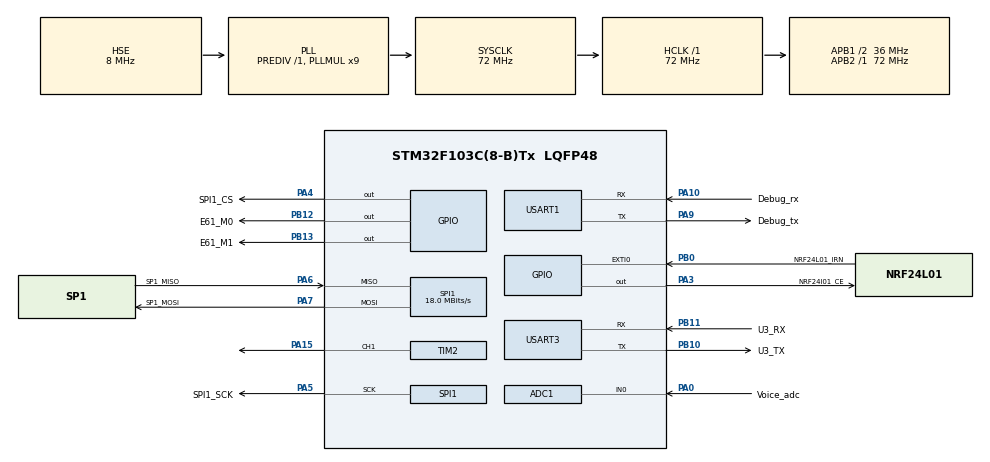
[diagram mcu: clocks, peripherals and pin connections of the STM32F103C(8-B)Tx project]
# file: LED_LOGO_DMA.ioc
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ADC1.Channel-9\#ChannelRegularConversion=ADC_CHANNEL_0
ADC1.ContinuousConvMode=DISABLE
ADC1.DataAlign=ADC_DATAALIGN_RIGHT
ADC1.DiscontinuousConvMode=DISABLE
ADC1.EnableAnalogWatchDog=false
ADC1.EnableRegularConversion=ENABLE
ADC1.ExternalTrigConv=ADC_EXTERNALTRIGCONV_T3_TRGO
ADC1.InjNumberOfConversion=0
ADC1.NbrOfConversion=1
ADC1.NbrOfConversionFlag=1
ADC1.Rank-9\#ChannelRegularConversion=1
ADC1.SamplingTime-9\#ChannelRegularConversion=ADC_SAMPLETIME_1CYCLE_5
ADC1.ScanConvMode=ADC_SCAN_DISABLE
ADC1.master=1
Dma.ADC1.1.Direction=DMA_PERIPH_TO_MEMORY
Dma.ADC1.1.Instance=DMA1_Channel1
Dma.ADC1.1.MemDataAlignment=DMA_MDATAALIGN_HALFWORD
Dma.ADC1.1.MemInc=DMA_MINC_ENABLE
Dma.ADC1.1.Mode=DMA_CIRCULAR
Dma.ADC1.1.PeriphDataAlignment=DMA_PDATAALIGN_HALFWORD
Dma.ADC1.1.PeriphInc=DMA_PINC_DISABLE
Dma.ADC1.1.Priority=DMA_PRIORITY_LOW
Dma.Request0=TIM2_CH1
Dma.Request1=ADC1
Dma.Request2=USART3_RX
Dma.Request3=USART3_TX
Dma.TIM2_CH1.0.Direction=DMA_MEMORY_TO_PERIPH
Dma.TIM2_CH1.0.Instance=DMA1_Channel5
Dma.TIM2_CH1.0.MemDataAlignment=DMA_MDATAALIGN_HALFWORD
Dma.TIM2_CH1.0.MemInc=DMA_MINC_ENABLE
Dma.TIM2_CH1.0.Mode=DMA_NORMAL
Dma.TIM2_CH1.0.PeriphDataAlignment=DMA_PDATAALIGN_HALFWORD
Dma.TIM2_CH1.0.PeriphInc=DMA_PINC_DISABLE
Dma.TIM2_CH1.0.Priority=DMA_PRIORITY_MEDIUM
Dma.USART3_RX.2.Direction=DMA_PERIPH_TO_MEMORY
Dma.USART3_RX.2.Instance=DMA1_Channel3
Dma.USART3_RX.2.MemDataAlignment=DMA_MDATAALIGN_BYTE
Dma.USART3_RX.2.MemInc=DMA_MINC_ENABLE
Dma.USART3_RX.2.Mode=DMA_NORMAL
Dma.USART3_RX.2.PeriphDataAlignment=DMA_PDATAALIGN_BYTE
Dma.USART3_RX.2.PeriphInc=DMA_PINC_DISABLE
Dma.USART3_RX.2.Priority=DMA_PRIORITY_LOW
Dma.USART3_TX.3.Direction=DMA_MEMORY_TO_PERIPH
Dma.USART3_TX.3.Instance=DMA1_Channel2
Dma.USART3_TX.3.MemDataAlignment=DMA_MDATAALIGN_BYTE
Dma.USART3_TX.3.MemInc=DMA_MINC_ENABLE
Dma.USART3_TX.3.Mode=DMA_NORMAL
Dma.USART3_TX.3.PeriphDataAlignment=DMA_PDATAALIGN_BYTE
Dma.USART3_TX.3.PeriphInc=DMA_PINC_DISABLE
Dma.USART3_TX.3.Priority=DMA_PRIORITY_LOW
FREERTOS.Tasks01=defaultTask,0,128,APP_TASK,Default,NULL,Dynamic,NULL,NULL;WS12TASK,-3,128,WS128_TASK,Default,NULL,Dynamic,NULL,NULL;myTask03,-3,128,FFT_TASK,Default,NULL,Dynamic,NULL,NULL
FREERTOS.configTOTAL_HEAP_SIZE=17000
Mcu.Family=STM32F1
Mcu.Name=STM32F103C(8-B)Tx
Mcu.Package=LQFP48
NVIC.ADC1_2_IRQn=true\:5\:0\:false\:true\:true\:3\:true\:true
NVIC.DMA1_Channel1_IRQn=true\:5\:0\:false\:true\:true\:1\:true\:false
NVIC.DMA1_Channel2_IRQn=true\:5\:0\:false\:false\:true\:true\:false
NVIC.DMA1_Channel3_IRQn=true\:5\:0\:false\:false\:true\:true\:false
NVIC.DMA1_Channel5_IRQn=true\:5\:0\:false\:true\:true\:2\:true\:false
NVIC.PriorityGroup=NVIC_PRIORITYGROUP_4
NVIC.TIM2_IRQn=true\:5\:0\:false\:true\:true\:4\:true\:true
NVIC.TIM3_IRQn=true\:5\:0\:false\:true\:true\:5\:true\:true
NVIC.USART3_IRQn=true\:5\:0\:false\:true\:true\:6\:true\:true
PA0-WKUP.GPIO_Label=Voice_adc
PA0-WKUP.Signal=ADCx_IN0
PA10.GPIO_Label=Debug_rx
PA10.Mode=Asynchronous
PA10.Signal=USART1_RX
PA13.Mode=Serial_Wire
PA13.Signal=SYS_JTMS-SWDIO
PA14.Mode=Serial_Wire
PA14.Signal=SYS_JTCK-SWCLK
PA15.Signal=S_TIM2_CH1_ETR
PA3.GPIO_Label=NRF24l01_CE
PA3.Signal=GPIO_Output
PA4.GPIO_Label=SPI1_CS
PA4.Signal=GPIO_Output
PA5.GPIO_Label=SPI1_SCK
PA5.Mode=Full_Duplex_Master
PA5.Signal=SPI1_SCK
PA6.GPIO_Label=SP1_MISO
PA6.Mode=Full_Duplex_Master
PA6.Signal=SPI1_MISO
PA7.GPIO_Label=SP1_MOSI
PA7.Mode=Full_Duplex_Master
PA7.Signal=SPI1_MOSI
PA9.GPIO_Label=Debug_tx
PA9.Mode=Asynchronous
PA9.Signal=USART1_TX
PB0.GPIO_Label=NRF24L01_IRN
PB0.Signal=GPXTI0
PB10.GPIO_Label=U3_TX
PB10.Mode=Asynchronous
PB10.Signal=USART3_TX
PB11.GPIO_Label=U3_RX
PB11.Mode=Asynchronous
PB11.Signal=USART3_RX
PB12.GPIO_Label=E61_M0
PB12.Signal=GPIO_Output
PB13.GPIO_Label=E61_M1
PB13.Signal=GPIO_Output
PD0-OSC_IN.Mode=HSE-External-Oscillator
PD0-OSC_IN.Signal=RCC_OSC_IN
PD1-OSC_OUT.Mode=HSE-External-Oscillator
PD1-OSC_OUT.Signal=RCC_OSC_OUT
ProjectManager.HeapSize=0x200
ProjectManager.StackSize=0x400
ProjectManager.TargetToolchain=MDK-ARM V5
RCC.ADCPresc=RCC_ADCPCLK2_DIV6
RCC.AHBFreq_Value=72000000
RCC.APB1CLKDivider=RCC_HCLK_DIV2
RCC.APB1Freq_Value=36000000
RCC.APB1TimFreq_Value=72000000
RCC.APB2Freq_Value=72000000
RCC.APB2TimFreq_Value=72000000
RCC.EnbaleCSS=true
RCC.HCLKFreq_Value=72000000
RCC.PLLMUL=RCC_PLL_MUL9
RCC.PLLSourceVirtual=RCC_PLLSOURCE_HSE
RCC.SYSCLKFreq_VALUE=72000000
RCC.SYSCLKSource=RCC_SYSCLKSOURCE_PLLCLK
RCC.USBFreq_Value=72000000
SH.ADCx_IN0.0=ADC1_IN0,IN0
SH.S_TIM2_CH1_ETR.0=TIM2_CH1,PWM Generation1 CH1
SPI1.BaudRatePrescaler=SPI_BAUDRATEPRESCALER_4
SPI1.CalculateBaudRate=18.0 MBits/s
SPI1.Direction=SPI_DIRECTION_2LINES
SPI1.Mode=SPI_MODE_MASTER
SPI1.VirtualType=VM_MASTER
TIM2.Channel-PWM\ Generation1\ CH1=TIM_CHANNEL_1
TIM2.Period=89
TIM3.Period=100
TIM3.Prescaler=72
TIM3.TIM_MasterOutputTrigger=TIM_TRGO_UPDATE
USART1.VirtualMode=VM_ASYNC
USART3.VirtualMode=VM_ASYNC
VP_FREERTOS_VS_ENABLE.Mode=Enabled
VP_TIM2_VS_ClockSourceINT.Mode=Internal
VP_TIM3_VS_ClockSourceINT.Mode=Internal
board=LED_LOGO_DMA

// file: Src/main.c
/**
  ******************************************************************************
  * File Name          : main.c
  * Description        : Main program body
  ******************************************************************************
  * This notice applies to any and all portions of this file
  * that are not between comment pairs USER CODE BEGIN and
  * USER CODE END. Other portions of this file, whether
  * inserted by the user or by software development tools
  * are owned by their respective copyright owners.
  *
  * Copyright (c) 2019 STMicroelectronics International N.V.
  * All rights reserved.
  *
  * Redistribution and use in source and binary forms, with or without
  * modification, are permitted, provided that the following conditions are met:
  *
  * 1. Redistribution of source code must retain the above copyright notice,
  *    this list of conditions and the following disclaimer.
  * 2. Redistributions in binary form must reproduce the above copyright notice,
  *    this list of conditions and the following disclaimer in the documentation
  *    and/or other materials provided with the distribution.
  * 3. Neither the name of STMicroelectronics nor the names of other
  *    contributors to this software may be used to endorse or promote products
  *    derived from this software without specific written permission.
  * 4. This software, including modifications and/or derivative works of this
  *    software, must execute solely and exclusively on microcontroller or
  *    microprocessor devices manufactured by or for STMicroelectronics.
  * 5. Redistribution and use of this software other than as permitted under
  *    this license is void and will automatically terminate your rights under
  *    this license.
  *
  * THIS SOFTWARE IS PROVIDED BY STMICROELECTRONICS AND CONTRIBUTORS "AS IS"
  * AND ANY EXPRESS, IMPLIED OR STATUTORY WARRANTIES, INCLUDING, BUT NOT
  * LIMITED TO, THE IMPLIED WARRANTIES OF MERCHANTABILITY, FITNESS FOR A
  * PARTICULAR PURPOSE AND NON-INFRINGEMENT OF THIRD PARTY INTELLECTUAL PROPERTY
  * RIGHTS ARE DISCLAIMED TO THE FULLEST EXTENT PERMITTED BY LAW. IN NO EVENT
  * SHALL STMICROELECTRONICS OR CONTRIBUTORS BE LIABLE FOR ANY DIRECT, INDIRECT,
  * INCIDENTAL, SPECIAL, EXEMPLARY, OR CONSEQUENTIAL DAMAGES (INCLUDING, BUT NOT
  * LIMITED TO, PROCUREMENT OF SUBSTITUTE GOODS OR SERVICES; LOSS OF USE, DATA,
  * OR PROFITS; OR BUSINESS INTERRUPTION) HOWEVER CAUSED AND ON ANY THEORY OF
  * LIABILITY, WHETHER IN CONTRACT, STRICT LIABILITY, OR TORT (INCLUDING
  * NEGLIGENCE OR OTHERWISE) ARISING IN ANY WAY OUT OF THE USE OF THIS SOFTWARE,
  * EVEN IF ADVISED OF THE POSSIBILITY OF SUCH DAMAGE.
  *
  ******************************************************************************
  */

#include "main.h"
#include "stm32f1xx_hal.h"
#include "cmsis_os.h"

/* USER CODE BEGIN Includes */
#include "arm_math.h"
#include "arm_const_structs.h"
#include "bsp_tim.h"
#include "bsp_led.h"
#include "bsp_ws2812.h"
#include "stm_flash.h"
#include "string.h"
#include <stdlib.h>
#include "ws2812_app.h"
#include "bsp_nrf24l01.h"
#include "bsp_update.h"
/* USER CODE END Includes */

ADC_HandleTypeDef hadc1;
DMA_HandleTypeDef hdma_adc1;

SPI_HandleTypeDef hspi1;

TIM_HandleTypeDef htim2;
TIM_HandleTypeDef htim3;
DMA_HandleTypeDef hdma_tim2_ch1;

UART_HandleTypeDef huart1;
UART_HandleTypeDef huart3;
DMA_HandleTypeDef hdma_usart3_rx;
DMA_HandleTypeDef hdma_usart3_tx;

osThreadId defaultTaskHandle;
osThreadId WS12TASKHandle;
osThreadId myTask03Handle;

/* USER CODE BEGIN PV */
/* Private variables ---------------------------------------------------------*/
/*Define print function*/

/* USER CODE END PV */

/* USER CODE BEGIN PFP */
/* Private function prototypes -----------------------------------------------*/
extern system_mode_type system_mode;
void MX_TIM3_Init(void);
void SystemClock_Config(void);
void MX_GPIO_Init(void);
void MX_DMA_Init(void);
void MX_USART1_UART_Init(void);
void MX_ADC1_Init(void);
void MX_TIM2_Init(void);
void MX_NVIC_Init(void);
void MX_SPI1_Init(void);
void HAL_TIM_MspPostInit(TIM_HandleTypeDef* htim);
void MX_USART3_UART_Init(void);
void APP_TASK(void const * argument);
void WS128_TASK(void const * argument);
void FFT_TASK(void const * argument);
/* USER CODE END PFP */

/* USER CODE BEGIN 0 */

extern uint8_t light_flag;
/* USER CODE END 0 */

int main(void)
{

  /* USER CODE BEGIN 1 */
//	 SCB->VTOR = 0x8000000 | (0x1800 & (uint32_t)0x1FFFFF80);

  /* USER CODE END 1 */

  /* MCU Configuration----------------------------------------------------------*/

  /* Reset of all peripherals, Initializes the Flash interface and the Systick. */
  HAL_Init();

  /* Configure the system clock */
  SystemClock_Config();

  /* Initialize all configured peripherals */
  MX_GPIO_Init();
  MX_DMA_Init();
  MX_TIM3_Init();
  MX_USART1_UART_Init();
  MX_ADC1_Init();
  MX_TIM2_Init();
  MX_SPI1_Init();
  MX_USART3_UART_Init();

  /* Initialize interrupts */
  MX_NVIC_Init();

  /* USER CODE BEGIN 2 */

//

//  HAL_TIM_Base_Start(&htim3);
//HAL_ADC_Start_DMA(&hadc1, (uint32_t*)uhADCxConvertedValue1, (TEST_LENGTH_SAMPLES/2));
//  STMFLASH_Write(0x8008800 , (uint16_t *)aBuffer, 2 );
//  STMFLASH_Read (0x8008800 , (uint16_t *)bBuffer, 1 );
//
//    printf("这是一个NRF24L01 2.4G无线数据传输模块测试实验\r\n");

//  while(NRF24L01_Check(&hspi1))
//	{
//    printf("客户端1：硬件查寻不到NRF24L01无线模块\r\n");
//		HAL_Delay(1000);
//	}
//  printf("客户端1：NRF24L01无线模块硬件连接正常\r\n");

//这样产生的是10以内的随机数， 100以内就%100就可以。
  /* USER CODE END 2 */

  /* Create the thread(s) */
  /* definition and creation of defaultTask */
  osThreadDef(defaultTask, APP_TASK, osPriorityHigh, 0, 256);
  defaultTaskHandle = osThreadCreate(osThread(defaultTask), NULL);

  /* definition and creation of WS12TASK */
  osThreadDef(WS12TASK, WS128_TASK, osPriorityBelowNormal, 0, 256);
  WS12TASKHandle = osThreadCreate(osThread(WS12TASK), NULL);

  /* definition and creation of myTask03 */
  osThreadDef(myTask03, FFT_TASK, osPriorityBelowNormal, 0, 256);
  myTask03Handle = osThreadCreate(osThread(myTask03), NULL);

  /* Start scheduler */
  osKernelStart();

  /* We should never get here as control is now taken by the scheduler */

  /* Infinite loop */
  /* USER CODE BEGIN WHILE */
    while(1)
    {
/******spi  mode***************************/

			/**
			           NRF24L01_TX_Mode(&hspi1);
			if(NRF24L01_TxPacket(&hspi1,"深圳市琴弦科技有限公司jhgfjghjnghjnhtjmnthjuhmkjhkm465656565656565656565656565656565reeeeeeeeeeeeeeee")==TX_OK)
      {

      }**/

  /* USER CODE END WHILE */

  /* USER CODE BEGIN 3 */

// usart3_data_process();

//			DMA_WS2812_Running_more(180, 10);
//			DMA_WS2812_Run(180);
//			DMA_WS2812_Rampping(180, 255, 2);
//			DMA_WS2812_Rampping_1(180, 255, 1);
//			DMA_WS2812_Running(189);
//			arrange_display(180);
//			arrange_display_two(180);
//			arrange_display_two_run(180);
//			ws2812_rand_light(180);
//  HAL_UART_Transmit_DMA(&huart3,"HAHAHA", 11);
//	HAL_Delay(500);
    }
  /* USER CODE END 3 */

}

/** System Clock Configuration
*/
void SystemClock_Config(void)
{

  RCC_OscInitTypeDef RCC_OscInitStruct;
  RCC_ClkInitTypeDef RCC_ClkInitStruct;
  RCC_PeriphCLKInitTypeDef PeriphClkInit;

    /**Initializes the CPU, AHB and APB busses clocks
    */
  RCC_OscInitStruct.OscillatorType = RCC_OSCILLATORTYPE_HSE;
  RCC_OscInitStruct.HSEState = RCC_HSE_ON;
  RCC_OscInitStruct.HSEPredivValue = RCC_HSE_PREDIV_DIV1;
  RCC_OscInitStruct.HSIState = RCC_HSI_ON;
  RCC_OscInitStruct.PLL.PLLState = RCC_PLL_ON;
  RCC_OscInitStruct.PLL.PLLSource = RCC_PLLSOURCE_HSE;
  RCC_OscInitStruct.PLL.PLLMUL = RCC_PLL_MUL9;
  if (HAL_RCC_OscConfig(&RCC_OscInitStruct) != HAL_OK)
  {
    _Error_Handler(__FILE__, __LINE__);
  }

    /**Initializes the CPU, AHB and APB busses clocks
    */
  RCC_ClkInitStruct.ClockType = RCC_CLOCKTYPE_HCLK|RCC_CLOCKTYPE_SYSCLK
                              |RCC_CLOCKTYPE_PCLK1|RCC_CLOCKTYPE_PCLK2;
  RCC_ClkInitStruct.SYSCLKSource = RCC_SYSCLKSOURCE_PLLCLK;
  RCC_ClkInitStruct.AHBCLKDivider = RCC_SYSCLK_DIV1;
  RCC_ClkInitStruct.APB1CLKDivider = RCC_HCLK_DIV2;
  RCC_ClkInitStruct.APB2CLKDivider = RCC_HCLK_DIV1;

  if (HAL_RCC_ClockConfig(&RCC_ClkInitStruct, FLASH_LATENCY_2) != HAL_OK)
  {
    _Error_Handler(__FILE__, __LINE__);
  }

  PeriphClkInit.PeriphClockSelection = RCC_PERIPHCLK_ADC;
  PeriphClkInit.AdcClockSelection = RCC_ADCPCLK2_DIV6;
  if (HAL_RCCEx_PeriphCLKConfig(&PeriphClkInit) != HAL_OK)
  {
    _Error_Handler(__FILE__, __LINE__);
  }

    /**Enables the Clock Security System
    */
  HAL_RCC_EnableCSS();

    /**Configure the Systick interrupt time
    */
  HAL_SYSTICK_Config(HAL_RCC_GetHCLKFreq()/1000);

    /**Configure the Systick
    */
  HAL_SYSTICK_CLKSourceConfig(SYSTICK_CLKSOURCE_HCLK);

  /* SysTick_IRQn interrupt configuration */
  HAL_NVIC_SetPriority(SysTick_IRQn, 15, 0);
}

/** NVIC Configuration
*/
static void MX_NVIC_Init(void)
{
  /* DMA1_Channel1_IRQn interrupt configuration */
  HAL_NVIC_SetPriority(DMA1_Channel1_IRQn, 5, 0);
  HAL_NVIC_EnableIRQ(DMA1_Channel1_IRQn);
  /* DMA1_Channel5_IRQn interrupt configuration */
  HAL_NVIC_SetPriority(DMA1_Channel5_IRQn, 5, 0);
  HAL_NVIC_EnableIRQ(DMA1_Channel5_IRQn);
  /* ADC1_2_IRQn interrupt configuration */
  HAL_NVIC_SetPriority(ADC1_2_IRQn, 5, 0);
  HAL_NVIC_EnableIRQ(ADC1_2_IRQn);
  /* TIM2_IRQn interrupt configuration */
  HAL_NVIC_SetPriority(TIM2_IRQn, 5, 0);
  HAL_NVIC_EnableIRQ(TIM2_IRQn);
  /* TIM3_IRQn interrupt configuration */
  HAL_NVIC_SetPriority(TIM3_IRQn, 5, 0);
  HAL_NVIC_EnableIRQ(TIM3_IRQn);
  /* USART3_IRQn interrupt configuration */
  HAL_NVIC_SetPriority(USART3_IRQn, 0, 0);
  HAL_NVIC_EnableIRQ(USART3_IRQn);
}

void _Error_Handler(char * file, int line)
{
    while(1)
    {
    }
}

/************************ (C) COPYRIGHT STMicroelectronics *****END OF FILE****/

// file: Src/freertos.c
/**
  ******************************************************************************
  * File Name          : freertos.c
  * Description        : Code for freertos applications
  ******************************************************************************
  * This notice applies to any and all portions of this file
  * that are not between comment pairs USER CODE BEGIN and
  * USER CODE END. Other portions of this file, whether
  * inserted by the user or by software development tools
  * are owned by their respective copyright owners.
  *
  * Copyright (c) 2019 STMicroelectronics International N.V.
  * All rights reserved.
  *
  * Redistribution and use in source and binary forms, with or without
  * modification, are permitted, provided that the following conditions are met:
  *
  * 1. Redistribution of source code must retain the above copyright notice,
  *    this list of conditions and the following disclaimer.
  * 2. Redistributions in binary form must reproduce the above copyright notice,
  *    this list of conditions and the following disclaimer in the documentation
  *    and/or other materials provided with the distribution.
  * 3. Neither the name of STMicroelectronics nor the names of other
  *    contributors to this software may be used to endorse or promote products
  *    derived from this software without specific written permission.
  * 4. This software, including modifications and/or derivative works of this
  *    software, must execute solely and exclusively on microcontroller or
  *    microprocessor devices manufactured by or for STMicroelectronics.
  * 5. Redistribution and use of this software other than as permitted under
  *    this license is void and will automatically terminate your rights under
  *    this license.
  *
  * THIS SOFTWARE IS PROVIDED BY STMICROELECTRONICS AND CONTRIBUTORS "AS IS"
  * AND ANY EXPRESS, IMPLIED OR STATUTORY WARRANTIES, INCLUDING, BUT NOT
  * LIMITED TO, THE IMPLIED WARRANTIES OF MERCHANTABILITY, FITNESS FOR A
  * PARTICULAR PURPOSE AND NON-INFRINGEMENT OF THIRD PARTY INTELLECTUAL PROPERTY
  * RIGHTS ARE DISCLAIMED TO THE FULLEST EXTENT PERMITTED BY LAW. IN NO EVENT
  * SHALL STMICROELECTRONICS OR CONTRIBUTORS BE LIABLE FOR ANY DIRECT, INDIRECT,
  * INCIDENTAL, SPECIAL, EXEMPLARY, OR CONSEQUENTIAL DAMAGES (INCLUDING, BUT NOT
  * LIMITED TO, PROCUREMENT OF SUBSTITUTE GOODS OR SERVICES; LOSS OF USE, DATA,
  * OR PROFITS; OR BUSINESS INTERRUPTION) HOWEVER CAUSED AND ON ANY THEORY OF
  * LIABILITY, WHETHER IN CONTRACT, STRICT LIABILITY, OR TORT (INCLUDING
  * NEGLIGENCE OR OTHERWISE) ARISING IN ANY WAY OUT OF THE USE OF THIS SOFTWARE,
  * EVEN IF ADVISED OF THE POSSIBILITY OF SUCH DAMAGE.
  *
  ******************************************************************************
  */

#include "FreeRTOS.h"
#include "task.h"

/* USER CODE BEGIN Includes */
#include "bsp_commun.h"
#include "bsp_ws2812.h"
#include "stm32f1xx_hal.h"
#include "math.h"
#include "bsp_dma.h"
#include "string.h"
#include <stdlib.h>
#include "crc.h"
#include "bsp_usart.h"
#include "cmsis_os.h"
#include  "ws2812_app.h"
#include "bsp_update.h"
/* USER CODE END Includes */

/* USER CODE BEGIN Variables */
/***********全部亮一种颜色渐变*******************/
#define  one_jianbian_open     0
/*******************************/
/*********全部亮多端颜色渐变****************/
#define  more_jianbian_open     0
/*******************************/
/*******全部亮循环多种颜色变化*******************/
#define   circulation_more_color_open     0
/*******************************/
/*******单中颜色全亮*******************/
#define  one_color_open     0
/*******************************/
/*******多种颜色逐渐亮*******************/
#define  more_color_light_open     0
/*******************************/
/*******多种颜色逐渐亮*******************/
#define  more_color_light1_open     0
/*******************************/
/*******每一条灯逐渐移位*******************/
#define  each_light_open     0
/*******************************/
/*******每一个灯依次显示每一种颜色, 灯效一边走，另一边返回*******************/
#define  each_light_order_open     0
/*******************************/
/*******每一个灯依次显示每一种颜色,等效是2边走中间，中间走2边*******************/
#define  each_light_order_two_open     0
/*******************************/
/*******随机亮*******************/
#define  random_light_open     0
/*******************************/
#define DMA_WS2812_circulationopen 0
/*********************************/
#define DMA_WS2812_circulation_moreopen 0
/* USER CODE END Variables */

/* USER CODE BEGIN FunctionPrototypes */
uint8_t  ws2812_write_flag;  //数据区是否被写入
uint8_t  select_area;  //选择片区的数据  1为就片区   2.为最新片区
extern USART_RECEIVETYPE  UsartType3;
extern system_mode_type system_mode;

extern uint8_t  track_1_color_1[17][6];
extern uint8_t  track_1_color_2[17][6];
extern uint8_t  track_1_color_3[17][6];
extern uint8_t  track_1_color_4[17][6];
extern uint8_t  track_1_color_5[17][6];

extern uint8_t  track_2_color_1[17][6];
extern uint8_t  track_2_color_2[17][6];
extern uint8_t  track_2_color_3[17][6];
extern uint8_t  track_2_color_4[17][6];
extern uint8_t  track_2_color_5[17][6];

extern uint8_t  track_3_color_1[17][6];
extern uint8_t  track_3_color_2[17][6];
extern uint8_t  track_3_color_3[17][6];
extern uint8_t  track_3_color_4[17][6];
extern uint8_t  track_3_color_5[17][6];

extern uint8_t  track_4_color_1[17][6];
extern uint8_t  track_4_color_2[17][6];
extern uint8_t  track_4_color_3[17][6];
extern uint8_t  track_4_color_4[17][6];
extern uint8_t  track_4_color_5[17][6];

extern uint8_t  track_5_color_1[17][6];
extern uint8_t  track_5_color_2[17][6];
extern uint8_t  track_5_color_3[17][6];
extern uint8_t  track_5_color_4[17][6];
extern uint8_t  track_5_color_5[17][6];
/* USER CODE END FunctionPrototypes */

/* Hook prototypes */
//const uint8_t default_buf1[17][6]={
//   {255,00,00,255,255,0},//1
//  {123,224,110,110,224,123},//2
//  {255,210,132,132,20,255},//3
//  {255,210,132,132,20,255},//4
//  {255,210,132,132,20,255},//5
//  {255,210,132,132,20,255},//6
//  {255,210,132,132,20,255},//7
//  {255,210,132,132,20,255},//8
//  {255,210,132,132,20,255},//9
//  {255,210,132,132,20,255},//10
//  {255,210,132,132,20,255},//11
//  {255,210,132,132,20,255},//12
//  {255,210,132,132,20,255},//13
//  {0,0,0,0,0,0},//14
//  {255,210,132,132,20,255},//15
//	{255,210,132,132,20,255},//16
//	{255,210,132,132,20,25}//17
//};
//uint8_t abc[102];
/* USER CODE BEGIN Application */
    /* APP_TASK function */
void APP_TASK(void const * argument)
{

  /* USER CODE BEGIN 5 */
   DMA_USART_IDLE_INIT();
		#if  esp32_wifi_on
	 esp32_wifi_init(1,50);
	esp_check_state(50);
   	#endif
//	esp8266_wifi_init(1,100);
	atk_8266_send_cmd("AT+CWMODE=2\r\n","OK",10);
	atk_8266_send_cmd("AT+CWSAP=\"ESPaa\",\"1234567890\",5,3,5\r\n","OK",10);
	atk_8266_send_cmd("AT+CIPMUX=1\r\n","OK",10);
	atk_8266_send_cmd("AT+CIPSERVER=1,80\r\n","OK",10);
//	 for(uint16_t i=0;i<229;i++)
//	{
//		printf("00 ff 00");
//		printf(" ");
//	}
//nrf24l01_init(115200,2000,"AT+RXA=0xb0,0x43,0x10,0x10,0x01","AT+TXA=0xb0,0x43,0x10,0x10,0x01","AT+FREQ=2.440",50);

//	DMA_WS2812_data_flash(default_buf1,abc,102);
// for(uint16_t i=0;i<102;i++)
//	{
//		printf("%d ",abc[i]);
//
//	}
  /* Infinite loop */
  for(;;)
  {

Usart_Logo_data(UsartType3.tem_RX_pData,UsartType3.RX_pData,UsartType3.RX_Size);

		osDelay(1);//只能间隔>50ms才能发送
  }
  /* USER CODE END 5 */
}
//SemaphoreHandle_t xSemaphore;

//uint8_t  a_1[1][3]={241,216,128};
//uint8_t  a_2[1][3]={249,5,86};
//uint8_t  a_3[1][3]={29,49,142};
//uint8_t  a_4[1][3]={109,249,253};
//uint8_t  a_5[1][3]={249,5,86};
//uint8_t  a_6[1][3]={104,160,247};
//uint8_t  a_7[1][3]={241,216,128};
//uint8_t  a_8[1][3]={52,204,204};
 uint8_t shade_60_buf_1[6]={52,204,204,241,216,128};
 uint8_t shade_60_buf_2[6]={59,93,170,52,204,204};
 uint8_t shade_60_buf_3[6]={249,5,86,59,93,170};
 uint8_t shade_60_buf_4[6]={241,216,128,249,5,86};
 uint8_t onecolor_buf_1[3]={52,204,204};
 uint8_t onecolor_buf_2[3]={59,93,170};
 uint8_t onecolor_buf_3[3]={249,5,86};
 uint8_t onecolor_buf_4[3]={241,216,128};
/* WS128_TASK function */
void WS128_TASK(void const * argument)
{
  /* USER CODE BEGIN WS128_TASK */
//	system_mode.pattern_flay=1;
	 reset_led_light();
	 read_mode_start();
	printf("system_mode.pattern_flay=%d\r\n",system_mode.pattern_flay);

	flash_data_to_color_data();	//

//	 xSemaphore = xSemaphoreCreateBinary();
  /* Infinite loop */
  for(;;)
  {

#if one_jianbian_open
  DMA_WS2812_Ramp(LED_MAX, 255, 1);
  DMA_WS2812_Ramp(LED_MAX, 255, 2);
  DMA_WS2812_Ramp(LED_MAX, 255, 3);
#endif
#if more_jianbian_open
 DMA_WS2812_Rampping(LED_MAX, 255, 2);
#endif
#if circulation_more_color_open
 DMA_WS2812_Rampping_1(LED_MAX, 255, 1);
#endif

#if one_color_open
      DMA_WS2812_one_light_run(2, 2);
#endif

#if more_color_light_open
      DMA_WS2812_Run(LED_MAX );
#endif

#if more_color_light1_open
     DMA_WS2812_Running(LED_MAX);
#endif
#if each_light_open
    DMA_WS2812_Running_more(LED_MAX, 720);
#endif
#if each_light_order_open
    arrange_display(LED_MAX);
#endif

#if each_light_order_two_open
  	arrange_display_two(LED_MAX);
#endif
#if random_light_open
  	ws2812_rand_light(LED_MAX);
#endif
#if  DMA_WS2812_circulationopen
    DMA_WS2812_circulation(229);
#endif
#if DMA_WS2812_circulation_moreopen
 DMA_WS2812_circulation_more(229,0);

  DMA_WS2812_circulation_more(LED_MAX,1);

	DMA_WS2812_circulation_more(LED_MAX,2);

#endif
//DMA_WS2812_shade_logo_rgb(LED_MAX,a_1,a_2);
//  osDelay(2000);
//DMA_WS2812_shade_logo_rgb(LED_MAX,a_3,a_4);
//  osDelay(2000);
//DMA_WS2812_shade_logo_rgb(LED_MAX,a_5,a_6);
//  osDelay(2000);
//DMA_WS2812_shade_logo_rgb(LED_MAX,a_7,a_8);
//  osDelay(2000);
//   if((ws2812_write_flag==1)||(select_area==1))
//	 {
//		 //从旧片区运行
//		 ws2812_rand_light(LED_MAX);
//
//	 }else if((ws2812_write_flag==2)&&(select_area==2)) //数据被写入
//	 {
//		 //从新片区运行
//		 DMA_WS2812_shade_light(LED_MAX);
//
//	 }
//	   DMA_WS2812_shade_light(LED_MAX);
        if(system_mode.pattern_flay==1)
				{
	DMA_WS2812_Ramp(LED_MAX, 255, 1);
  DMA_WS2812_Ramp(LED_MAX, 255, 2);
  DMA_WS2812_Ramp(LED_MAX, 255, 3);
	DMA_WS2812_Rampping(LED_MAX, 255, 2);
//	DMA_WS2812_Rampping_1(LED_MAX, 255, 1);
//	DMA_WS2812_one_light_run(2, 2);
  DMA_WS2812_Run(LED_MAX );
	DMA_WS2812_Running(LED_MAX);
  DMA_WS2812_Running_more(LED_MAX, 720);
  arrange_display(LED_MAX);
 	arrange_display_two(LED_MAX);
	ws2812_rand_light(LED_MAX);
  DMA_WS2812_circulation(LED_MAX);
	DMA_WS2812_circulation_more(LED_MAX,0);
  DMA_WS2812_circulation_more(LED_MAX,1);
	DMA_WS2812_circulation_more(LED_MAX,2);
  DMA_WS2812_shade_60_run(LED_MAX,shade_60_buf_1);
		osDelay(500);
  DMA_WS2812_shade_60_run(LED_MAX,shade_60_buf_2);
		osDelay(500);
  DMA_WS2812_shade_60_run(LED_MAX,shade_60_buf_3);
		osDelay(500);
	DMA_WS2812_shade_60_run(LED_MAX,shade_60_buf_4);
		osDelay(500);
  ws28128_one_color_circulation_run(LED_MAX,onecolor_buf_1);
    osDelay(500);
  ws28128_one_color_circulation_run(LED_MAX,onecolor_buf_2);
    osDelay(500);
  ws28128_one_color_circulation_run(LED_MAX,onecolor_buf_3);
    osDelay(500);
  ws28128_one_color_circulation_run(LED_MAX,onecolor_buf_4);
    osDelay(500);
				}

	 osDelay(1);//只能间隔>50ms才能发送

  }
  /* USER CODE END WS128_TASK */
}

/* FFT_TASK function */
void FFT_TASK(void const * argument)
{

  /* USER CODE BEGIN FFT_TASK */

//   fft_adc_tim_start();
  /* Infinite loop */
  for(;;)
  {
//		  DMA_WS2812_shade_light(LED_MAX);
//	send_fft_data();
		 if(system_mode.pattern_flay==2)
				{

					if(system_mode.set_shade==1)
					{

						DMA_WS2812_shade_light(LED_MAX);
						//轨迹一

//					    DMA_WS2812_shade_logo_all(track_2_color_1);
//						  DMA_WS2812_shade_logo_all(track_2_color_2);
//						  DMA_WS2812_shade_logo_all(track_2_color_3);
//						  DMA_WS2812_shade_logo_all(track_2_color_4);
//						  DMA_WS2812_shade_logo_all(track_2_color_5);

//					    DMA_WS2812_shade_logo_all(track_3_color_1);
//						  DMA_WS2812_shade_logo_all(track_3_color_2);
//						  DMA_WS2812_shade_logo_all(track_3_color_3);
//						  DMA_WS2812_shade_logo_all(track_3_color_4);
//						  DMA_WS2812_shade_logo_all(track_3_color_5);

//					    DMA_WS2812_shade_logo_all(track_4_color_1);
//						  DMA_WS2812_shade_logo_all(track_4_color_2);
//						  DMA_WS2812_shade_logo_all(track_4_color_3);
//						  DMA_WS2812_shade_logo_all(track_4_color_4);
//						  DMA_WS2812_shade_logo_all(track_4_color_5);

//					    DMA_WS2812_shade_logo_all(track_5_color_1);
//						  DMA_WS2812_shade_logo_all(track_5_color_2);
//						  DMA_WS2812_shade_logo_all(track_5_color_3);
//						  DMA_WS2812_shade_logo_all(track_5_color_4);
//						  DMA_WS2812_shade_logo_all(track_5_color_5);
					}

				}
			  else if(system_mode.pattern_flay==3)
				{
//
					   DMA_WS2812_shade_light(LED_MAX);

				}
				else if(system_mode.pattern_flay==4)
				{

//					   reset_led_light();
					   DMA_WS2812_shade_light(LED_MAX);

				}
//				printf("nihao");
    osDelay(1);
  }
  /* USER CODE END FFT_TASK */
}
/* USER CODE END Application */

/************************ (C) COPYRIGHT STMicroelectronics *****END OF FILE****/
